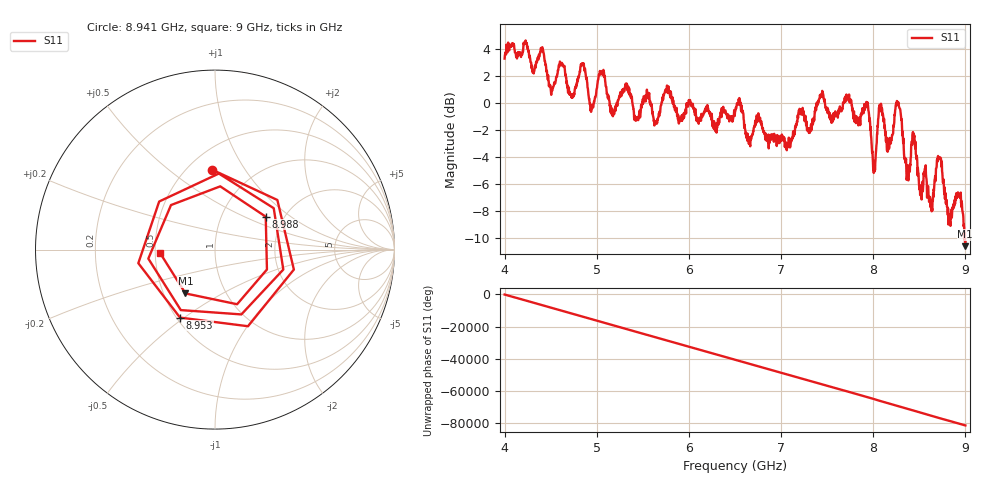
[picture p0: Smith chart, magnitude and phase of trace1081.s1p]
! Created with skrf 1.8.0 (http://scikit-rf.org).
# Hz S RI R 50.0
!freq ReS11 ImS11
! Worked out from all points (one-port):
!   1601 points, 4 GHz to 9 GHz, reference 50 ohm
!   lowest |S11| = -10.6 dB at 8.997 GHz (marker M1), VSWR 1.83, Z = 32.3 - j17.2 ohm
!   |S11| at or under -10 dB: 8.990276 GHz to 8.992048 GHz (1.772 MHz wide, 0.0197 % of centre); 8.995037 GHz to end of sweep
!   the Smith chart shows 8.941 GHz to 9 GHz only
!   S11 on the Smith chart (normalised r, x): 8.941 GHz: 0.65, +0.72; 8.953 GHz: 0.52, -0.48; 8.988 GHz: 1.62, +0.67; 9 GHz: 0.53, -0.02
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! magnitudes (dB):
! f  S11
! 4 GHz  3.3
! 4.506 GHz  0.6
! 4.625 GHz  2.8
! 4.725 GHz  0.4
! 4.853 GHz  2.8
! 4.947 GHz  -0.5
! 5.053 GHz  2.2
! 5.166 GHz  -0.8
! 5.25 GHz  0.5
! 5.875 GHz  -0.8
! 6.5 GHz  -0.7
! 7.125 GHz  -2.6
! 7.75 GHz  0.2
! 7.938 GHz  0.0
! 8.009 GHz  -4.9
! 8.078 GHz  -0.4
! 8.172 GHz  -3.4
! 8.269 GHz  -0.1
! 8.375 GHz  -4.6
! 8.438 GHz  -2.3
! 8.625 GHz  -7.6
! 8.712 GHz  -4.2
! 8.828 GHz  -8.6
! 8.941 GHz  -7.0
! 8.953 GHz  -7.4
! 8.988 GHz  -9.4
! 8.997 GHz  -10.6
! 9 GHz  -10.3
